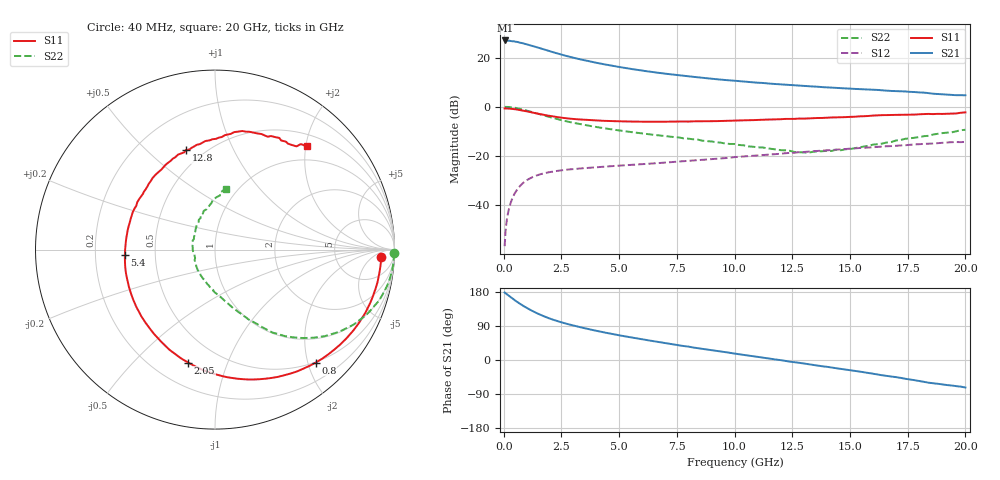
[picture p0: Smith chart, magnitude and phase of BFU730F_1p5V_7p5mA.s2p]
! Filename:  P:\Prog\Test\Noise\ATS_data\Testdata_Net\Split files Spar\BFU730_2W_B1_Bias5_1.5V_1mA_30mA_D.s2p
! Date/Time: Fri 29/Apr/2011 14:16:49
! BFU730_2W_B1_Bias5_1.5V_1mA_30mA_R.s2p
! MDIF S-parameter v. bias file
! BFU730_2W_B1_1.5V_1mA_30mA
! Date/time Thu Mar 17 13:45:32 2011
! VAR V_out= 1.5003
! VAR I_out= 7.5950
! VAR V_in= 0.7992
! VAR I_in= 0.0228
! Device data file deembeded for feedlines and parallel
! Original file: \Split files Spar\BFU730_2W_B1_Bias5_1.5V_1mA_30mA_R.s2p
! Feed-files: PR003V01_101208_Feed1.s2p, PR003V01_101208_Feed2.s2p
! Parallel-file: PR003V01_101208_Par.s2p
# MHz S MA R 50
!  Freq-MHz  S11-mag  S11-arg  S21-mag  S21-arg  S12-mag  S12-arg  S22-mag  S22-arg
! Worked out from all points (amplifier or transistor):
!   167 points, 40 MHz to 20 GHz, reference 50 ohm
!   highest |S21| = 26.9 dB at 50 MHz (marker M1)
!   |S21| within 3 dB of that: start of sweep to 1.523 GHz
!   unconditionally stable (mu >= 1): 6.253 GHz to 16.16 GHz
!   at 550 MHz: K = 0.09, MSG = 30.2 dB, |S12| = -34.1 dB
!   at 4.2 GHz: K = 0.75, MSG = 21.0 dB, |S12| = -24.4 dB
!   at 20 GHz: K = 0.86, MSG = 9.5 dB, |S12| = -14.3 dB
!   S11 on the Smith chart (normalised r, x): 40 MHz: 20, -11; 800 MHz: 0.49, -2.14; 2.05 GHz: 0.34, -0.73; 5.4 GHz: 0.33, -0.03; 12.8 GHz: 0.40, +0.67; 20 GHz: 0.72, +2.03
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40  0.927 -2.5  22.17 178.2  0.001483 87.6  0.9971 -1.2
50  0.9271 -3.6  22.23 177.3  0.001731 73.2  0.997 -1.7
60  0.9235 -3.6  21.97 177.0  0.002003 89.8  0.9979 -1.9
90  0.9261 -5.6  22.16 175.6  0.003313 87.2  0.9974 -3.1
240  0.9185 -15.1  21.98 168.6  0.008932 82.7  0.9893 -8.6
420  0.9011 -26.2  21.45 160.4  0.01546 76.6  0.9671 -14.9
600  0.8758 -37.0  20.72 152.6  0.02146 70.4  0.933 -21.0
800  0.8432 -48.3  19.69 144.7  0.02733 64.3  0.8888 -27.0
1050  0.7986 -61.4  18.26 135.7  0.03343 57.7  0.8272 -33.7
1350  0.7466 -75.8  16.64 126.1  0.03913 51.2  0.7539 -40.3
1700  0.6923 -90.4  14.83 116.5  0.04412 45.2  0.6773 -46.5
2050  0.6469 -103.3  13.21 108.2  0.04776 40.6  0.6101 -51.6
2700  0.5863 -123.2  10.82 96.0  0.05279 34.6  0.5092 -58.5
3400  0.5482 -140.2  9.021 85.4  0.05643 30.6  0.4389 -63.7
4300  0.5201 -158.3  7.38 73.5  0.06068 27.5  0.371 -69.5
5400  0.5031 -176.6  5.997 60.9  0.06577 24.8  0.3129 -76.0
6800  0.4986 164.6  4.836 46.6  0.07263 22.4  0.2606 -84.6
10200  0.532 129.1  3.318 15.2  0.09673 15.3  0.1678 -116.1
12800  0.5777 106.4  2.7 -7.4  0.1201 6.2  0.1199 -158.3
13400  0.5859 101.6  2.584 -12.9  0.1257 3.1  0.1222 -173.2
16800  0.6839 73.7  2.097 -43.5  0.1595 -13.9  0.1934 114.5
20000  0.7704 48.2  1.714 -72.6  0.1937 -34.1  0.3417 79.9
